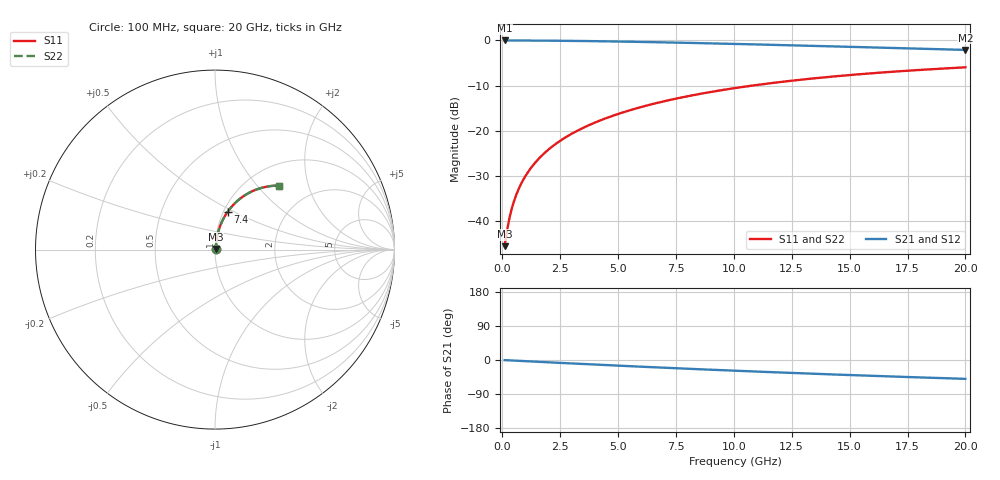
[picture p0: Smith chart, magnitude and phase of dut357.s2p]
! Touchstone file exported from HFSS 2024.1.0
!  File:  C:/UserFiles/LocalFiles/RDL_TSV_Batchsim/temp_RDL_top_357_1779608409.aedt
!  Generated:  03:42:32 PM May 24, 2026
!  Design:  RDL_top
!  Project:  temp_RDL_top_357_1779608409
!  Setup:  Setup1
!  Solution:  Sweep
! Variables:
!  dtsv = 10.80580581um
!  hbump = 3um
!  htsv = 60.16um
!  ldown = 100um
!  lrdl = 678.57um
!  p = 40
!  p1 = 52.44um
!  rhole = 1um
!  t = 450um
!  tdown = 3.915915916um
!  trdl = 3.92um
!  wdown = 15.38538539um
!  wrdl = 14.99um
# GHz S MA R 50.000000
! Terminal data exported
! Port[1] = Box2_T1
! Port[2] = Box2_T2
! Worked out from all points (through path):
!   200 points, 100 MHz to 20 GHz, reference 50 ohm
!   highest |S21| = -0.04 dB at 100 MHz (marker M1); lowest = -2.1 dB at 20 GHz (marker M2)
!   group delay of S21, straight-line fit = 6.9 ps
!   lowest |S11| = -45.5 dB at 100 MHz (marker M3), VSWR 1.01, Z = 50.4 + j0.326 ohm
!   |S11| at or under -10 dB: start of sweep to 10.83 GHz
!   |S22| runs from -45.5 to -6.0 dB; largest |S21 - S12| = 1.1e-14
!   S11 on the Smith chart (normalised r, x): 100 MHz: 1.01, +0.01; 7.4 GHz: 1.05, +0.47; 20 GHz: 1.37, +1.31
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0.1  0.005285 37.8  0.9958 -0.3  0.9958 -0.3  0.005285 37.8
! Gamma 0 0 0 0
! Port Impedance 50 0 50 0
0.2  0.007743 56.2  0.9957 -0.6  0.9957 -0.6  0.007743 56.2
0.3  0.01057 64.9  0.9955 -0.9  0.9955 -0.9  0.01057 64.9
0.4  0.01351 69.7  0.9953 -1.2  0.9953 -1.2  0.01351 69.7
0.5  0.01647 72.8  0.9951 -1.6  0.9951 -1.6  0.01647 72.8
0.6  0.01946 74.8  0.9949 -1.9  0.9949 -1.9  0.01946 74.8
0.8  0.02547 77.5  0.9945 -2.5  0.9945 -2.5  0.02547 77.5
1.1  0.03456 79.5  0.9938 -3.4  0.9938 -3.4  0.03456 79.5
1.5  0.04675 80.6  0.9926 -4.6  0.9926 -4.6  0.04675 80.6
1.8  0.05591 80.9  0.9914 -5.5  0.9914 -5.5  0.05591 80.9
2.1  0.06509 80.9  0.9901 -6.4  0.9901 -6.4  0.06509 80.9
2.7  0.08343 80.4  0.987 -8.2  0.987 -8.2  0.08343 80.4
3.5  0.1078 79.3  0.9817 -10.6  0.9817 -10.6  0.1078 79.3
4.2  0.1291 78.1  0.9763 -12.6  0.9763 -12.6  0.1291 78.1
5  0.1531 76.5  0.9693 -14.9  0.9693 -14.9  0.1531 76.5
6.8  0.2062 72.8  0.9508 -19.9  0.9508 -19.9  0.2062 72.7
7.4  0.2235 71.4  0.944 -21.5  0.944 -21.5  0.2235 71.4
8.7  0.2599 68.5  0.9286 -24.9  0.9286 -24.9  0.2599 68.5
10.1  0.2975 65.4  0.911 -28.4  0.911 -28.4  0.2975 65.4
13.4  0.378 58.2  0.8679 -36.2  0.8679 -36.2  0.378 58.2
16.7  0.4462 51.4  0.8245 -43.3  0.8245 -43.3  0.4461 51.4
20  0.5022 45.2  0.783 -49.8  0.783 -49.8  0.5022 45.2
